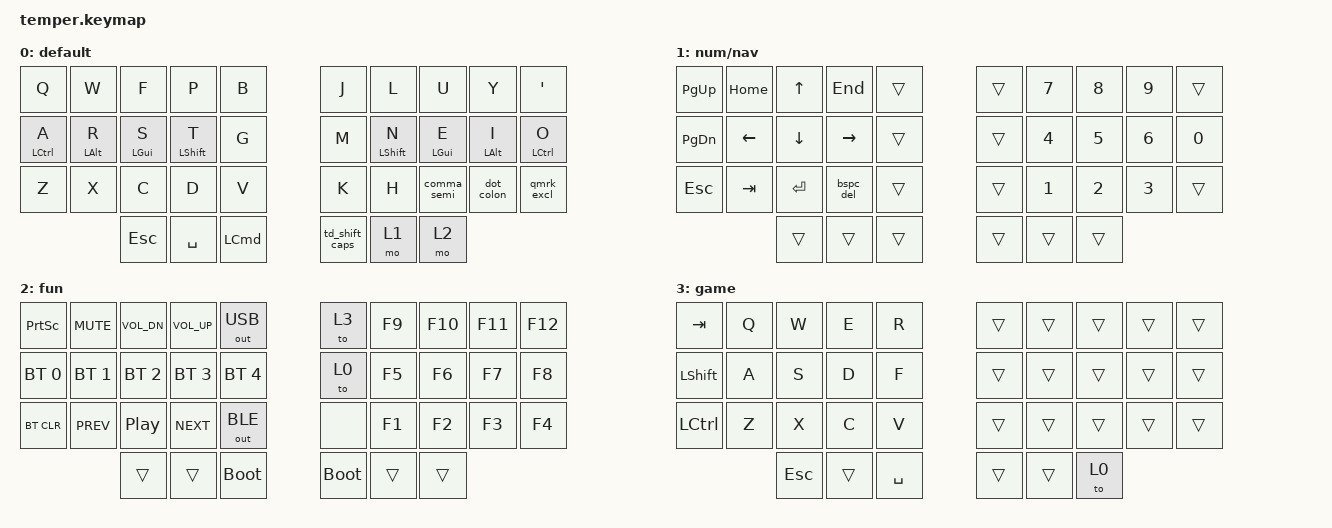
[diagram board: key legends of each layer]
/*
 * Copyright (c) 2020 The ZMK Contributors
 *
 * SPDX-License-Identifier: MIT
 */

#include <behaviors.dtsi>
#include <dt-bindings/zmk/bt.h>
#include <dt-bindings/zmk/keys.h>
#include <dt-bindings/zmk/outputs.h>

#define DEFAULT 0
#define NUM_NAV 1
#define FUN 2
#define GAME 3
#define QWERTY 4
#define COMBO_TERM 30
#define TAPPING_TERM 280
#define QUICK_TAP_TERM 175
#define REQUIRE_PRIOR_IDLE 175

/ {
    conditional_layers { compatible = "zmk,conditional-layers"; };

    behaviors {
        hml: home_row_mod_left {
            compatible = "zmk,behavior-hold-tap";
            #binding-cells = <2>;
            flavor = "balanced";
            tapping-term-ms = <TAPPING_TERM>;
            quick-tap-ms = <QUICK_TAP_TERM>;
            require-prior-idle-ms = <REQUIRE_PRIOR_IDLE>;
            bindings = <&kp>, <&kp>;

            hold-trigger-key-positions = <5 6 7 8 9 15 16 17 18 19 25 26 27 28 29 33 34 35>;
            hold-trigger-on-release;
        };

        hmr: home_row_mod_right {
            compatible = "zmk,behavior-hold-tap";
            #binding-cells = <2>;
            flavor = "balanced";
            tapping-term-ms = <TAPPING_TERM>;
            quick-tap-ms = <QUICK_TAP_TERM>;
            require-prior-idle-ms = <REQUIRE_PRIOR_IDLE>;
            bindings = <&kp>, <&kp>;

            hold-trigger-key-positions = <0 1 2 3 4 10 11 12 13 14 20 21 22 23 24 30 31 32>;
            hold-trigger-on-release;
        };

        bspc_del: backspace_delete {
            compatible = "zmk,behavior-mod-morph";
            #binding-cells = <0>;
            bindings = <&kp BACKSPACE>, <&kp DELETE>;

            mods = <(MOD_LSFT|MOD_RSFT)>;
            keep-mods = <(MOD_RSFT)>;
        };

        super_bspc: super_backspace {
            compatible = "zmk,behavior-mod-morph";
            #binding-cells = <0>;
            bindings = <&kp BACKSPACE>, <&kp LA(BACKSPACE)>;

            mods = <(MOD_LSFT|MOD_RSFT)>;
        };

        td_shift_caps: tap_dance_shift_caps {
            compatible = "zmk,behavior-tap-dance";
            #binding-cells = <0>;
            tapping-term-ms = <200>;
            bindings = <&kp LSHFT>, <&kp CAPSLOCK>;
        };

        comma_semi: comma_semi {
            compatible = "zmk,behavior-mod-morph";
            #binding-cells = <0>;
            bindings = <&kp COMMA>, <&kp SEMI>;

            mods = <(MOD_LSFT)>;
        };

        dot_colon: dot_colon {
            compatible = "zmk,behavior-mod-morph";
            #binding-cells = <0>;
            bindings = <&kp DOT>, <&kp COLON>;

            mods = <(MOD_LSFT)>;
        };

        qmrk_excl: qmrk_excl {
            compatible = "zmk,behavior-mod-morph";
            #binding-cells = <0>;
            bindings = <&kp QMARK>, <&kp EXCL>;

            mods = <(MOD_LSFT)>;
        };

        slh_morph: slh_morph {
            compatible = "zmk,behavior-mod-morph";
            #binding-cells = <0>;
            bindings = <&kp FSLH>, <&kp BSLH>;

            mods = <(MOD_LSFT)>;
        };

        amps_morph: amps_morph {
            compatible = "zmk,behavior-mod-morph";
            #binding-cells = <0>;
            bindings = <&kp AMPS>, <&kp PIPE>;

            mods = <(MOD_LSFT)>;
        };
    };

    combos {
        compatible = "zmk,combos";

        tilde {
            bindings = <&kp TILDE>;
            key-positions = <0 10>;
            layers = <0>;
        };

        at {
            bindings = <&kp AT_SIGN>;
            key-positions = <11 1>;
            layers = <0>;
        };

        hash {
            bindings = <&kp HASH>;
            key-positions = <12 2>;
            layers = <0>;
        };

        dollar {
            bindings = <&kp DOLLAR>;
            key-positions = <13 3>;
            layers = <0>;
        };

        percent {
            bindings = <&kp PERCENT>;
            key-positions = <10 20>;
            layers = <0>;
        };

        caret {
            bindings = <&kp CARET>;
            key-positions = <11 21>;
            layers = <0>;
        };

        ampersand {
            bindings = <&amps_morph>;
            key-positions = <22 12>;
            layers = <0>;
        };

        asterisk {
            bindings = <&kp ASTERISK>;
            key-positions = <13 23>;
            layers = <0>;
        };

        Lbracket {
            bindings = <&kp LEFT_BRACKET>;
            key-positions = <14 4>;
            layers = <0>;
        };

        Lparen {
            bindings = <&kp LEFT_PARENTHESIS>;
            key-positions = <24 14>;
            layers = <0>;
        };

        Rbracket {
            bindings = <&kp RIGHT_BRACKET>;
            key-positions = <15 5>;
            layers = <0>;
        };

        Rparen {
            bindings = <&kp RIGHT_PARENTHESIS>;
            key-positions = <25 15>;
            layers = <0>;
        };

        grave {
            bindings = <&kp GRAVE>;
            key-positions = <19 29>;
            layers = <0>;
        };

        less_than {
            bindings = <&kp LESS_THAN>;
            key-positions = <26 16>;
            layers = <0>;
        };

        greater_than {
            bindings = <&kp GREATER_THAN>;
            key-positions = <28 18>;
            layers = <0>;
        };

        slash_morph {
            bindings = <&slh_morph>;
            key-positions = <8 18>;
            layers = <0>;
        };

        minus {
            bindings = <&kp MINUS>;
            key-positions = <16 6>;
            layers = <0>;
        };

        underscore {
            bindings = <&kp UNDER>;
            key-positions = <17 7>;
            layers = <0>;
        };

        equal {
            bindings = <&kp EQUAL>;
            key-positions = <27 17>;
            layers = <0>;
        };

        plus {
            bindings = <&kp PLUS>;
            key-positions = <9 19>;
            layers = <0>;
        };

        tab {
            bindings = <&kp TAB>;
            key-positions = <21 22>;
            layers = <0>;
        };

        enter {
            bindings = <&kp ENTER>;
            key-positions = <27 26>;
            layers = <0>;
        };

        backspace {
            bindings = <&bspc_del>;
            key-positions = <28 27>;
            layers = <0>;
        };
    };

    keymap {
        compatible = "zmk,keymap";

        default_layer {
            display-name = "default";
            bindings = <
  &kp Q         &kp W        &kp F        &kp P         &kp B               &kp J        &kp L         &kp U        &kp Y        &kp APOS
  &hml LCTRL A  &hml LALT R  &hml LGUI S  &hml LSHFT T  &kp G               &kp M        &hmr LSHFT N  &hmr LGUI E  &hmr LALT I  &hmr LCTRL O
  &kp Z         &kp X        &kp C        &kp D         &kp V               &kp K        &kp H         &comma_semi  &dot_colon   &qmrk_excl
                             &kp ESCAPE   &kp SPACE     &kp LEFT_COMMAND    &td_shift_caps  &mo 1         &mo 2
            >;
        };

        num_nav_layer {
            display-name = "num/nav";
            bindings = <
  &kp PG_UP   &kp HOME  &kp UP_ARROW    &kp END    &trans    &trans  &kp N7  &kp N8  &kp N9  &trans
  &kp PG_DN   &kp LEFT  &kp DOWN_ARROW  &kp RIGHT  &trans    &trans  &kp N4  &kp N5  &kp N6  &kp N0
  &kp ESCAPE  &kp TAB   &kp ENTER       &bspc_del  &trans    &trans  &kp N1  &kp N2  &kp N3  &trans
                        &trans          &trans     &trans    &trans  &trans  &trans
            >;
        };

        fun_layer {
            display-name = "fun";
            bindings = <
  &kp PRINTSCREEN  &kp K_MUTE    &kp C_VOL_DN  &kp C_VOL_UP  &out OUT_USB    &to 3        &kp F9  &kp F10  &kp F11  &kp F12
  &bt BT_SEL 0     &bt BT_SEL 1  &bt BT_SEL 2  &bt BT_SEL 3  &bt BT_SEL 4    &to 0        &kp F5  &kp F6   &kp F7   &kp F8
  &bt BT_CLR       &kp C_PREV    &kp C_PP      &kp C_NEXT    &out OUT_BLE    &none        &kp F1  &kp F2   &kp F3   &kp F4
                                 &trans        &trans        &bootloader     &bootloader  &trans  &trans
            >;
        };

        game_layer {
            display-name = "game";
            bindings = <
  &kp TAB    &kp Q  &kp W       &kp E   &kp R        &trans  &trans  &trans  &trans  &trans
  &kp LSHFT  &kp A  &kp S       &kp D   &kp F        &trans  &trans  &trans  &trans  &trans
  &kp LCTRL  &kp Z  &kp X       &kp C   &kp V        &trans  &trans  &trans  &trans  &trans
                    &kp ESCAPE  &trans  &kp SPACE    &trans  &trans  &to 0
            >;
        };
    };
};

&mt {
    tapping-term-ms = <TAPPING_TERM>;
    flavor = "tap-preferred";
    quick-tap-ms = <QUICK_TAP_TERM>;
    require-prior-idle-ms = <REQUIRE_PRIOR_IDLE>;
};

&lt {
    tapping-term-ms = <TAPPING_TERM>;
    flavor = "tap-preferred";
    quick-tap-ms = <QUICK_TAP_TERM>;
};
